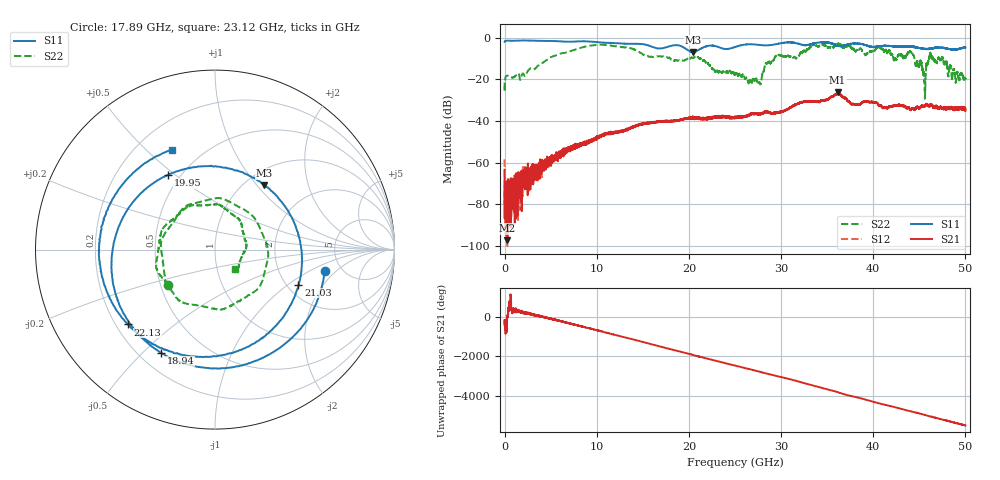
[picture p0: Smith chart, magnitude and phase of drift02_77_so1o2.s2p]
!Created with skrf (http://scikit-rf.org).
# Hz S RI R 50.0
!freq ReS11 ImS11 ReS21 ImS21 ReS12 ImS12 ReS22 ImS22
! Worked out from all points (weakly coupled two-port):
!   10001 points, 300 kHz to 50 GHz, reference 50 ohm
!   highest |S21| = -26.24 dB at 36.13 GHz (marker M1); lowest = -97.2 dB at 290.3 MHz (marker M2)
!   lowest |S11| = -6.9 dB at 20.45 GHz (marker M3), VSWR 2.64, Z = 60.8 + j54.7 ohm
!   |S11| at or under -10 dB: nowhere
!   |S22| runs from -29.3 to -2.6 dB; largest |S21 - S12| = 0.0051
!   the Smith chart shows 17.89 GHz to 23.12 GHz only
!   S11 on the Smith chart (normalised r, x): 17.89 GHz: 3.71, -1.42; 18.94 GHz: 0.29, -0.57; 19.95 GHz: 0.43, +0.47; 21.03 GHz: 2.30, -1.20; 22.13 GHz: 0.25, -0.35; 23.12 GHz: 0.34, +0.60
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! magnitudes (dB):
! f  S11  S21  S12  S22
! 300 kHz  -2.1  -63.3  -58.4  -21.5
! 290.3 MHz  -1.4  -97.2  -82.5  -18.2
! 8.335 GHz  -1.7  -51.0  -51.5  -4.7
! 16.67 GHz  -5.2  -40.2  -40.4  -9.0
! 17.89 GHz  -4.1  -40.1  -40.2  -9.6
! 18.94 GHz  -3.8  -39.6  -39.8  -10.8
! 19.95 GHz  -6.2  -38.6  -38.7  -9.8
! 20.45 GHz  -6.9  -38.6  -38.7  -9.8
! 21.03 GHz  -5.9  -38.6  -38.3  -9.5
! 22.13 GHz  -3.9  -38.3  -38.4  -12.8
! 23.12 GHz  -4.3  -38.1  -38.0  -16.2
! 25 GHz  -4.5  -38.3  -38.1  -17.8
! 27.63 GHz  -3.5  -36.6  -36.7  -21.5
! 28.43 GHz  -3.7  -35.4  -35.7  -12.3
! 29.55 GHz  -3.0  -35.8  -36.0  -8.8
! 33.34 GHz  -3.0  -30.5  -30.5  -3.8
! 36.13 GHz  -3.9  -26.2  -26.9  -3.2
! 41.67 GHz  -3.9  -33.0  -33.5  -6.2
! 44.12 GHz  -4.2  -34.4  -34.5  -6.9
! 45.51 GHz  -5.3  -33.0  -33.2  -17.8
! 46.28 GHz  -5.2  -32.1  -32.2  -8.8
! 50 GHz  -4.7  -35.1  -33.9  -19.8
